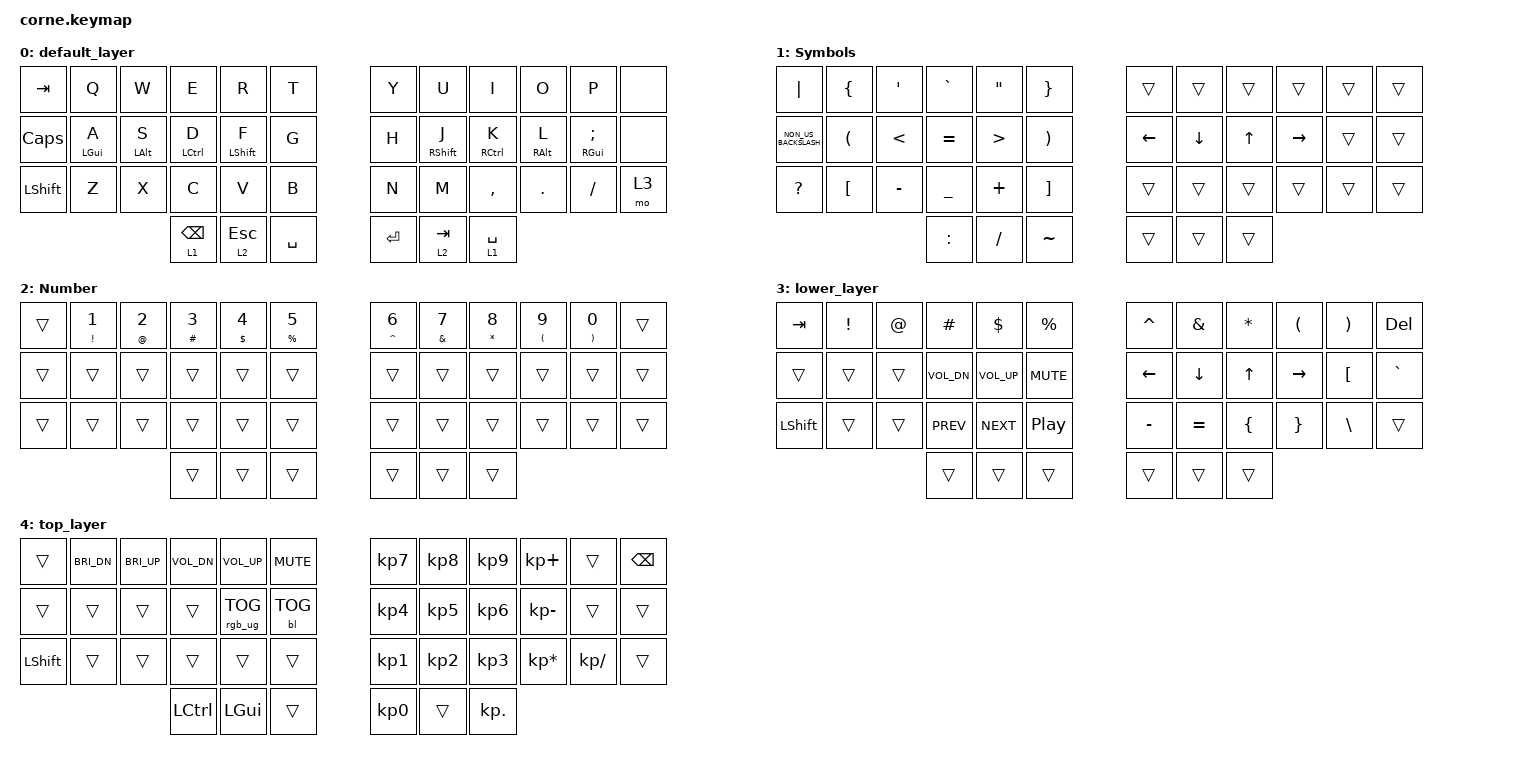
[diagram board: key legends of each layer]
/*
 * Copyright (c) 2020 The ZMK Contributors
 *
 * SPDX-License-Identifier: MIT
 */

#include <behaviors.dtsi>
#include <dt-bindings/zmk/backlight.h>
#include <dt-bindings/zmk/keys.h>
#include <dt-bindings/zmk/rgb.h>

// Layer definitions

#define DEFAULT 0
#define LOWER   1
#define RAISE   2
#define TOP     3

// Home Row Mods configuration

#define DIFFICULTY_LEVEL  0  // 0:custom, 1:easy -> 5:hard

// Set default tapping term (if DIFFICULTY_LEVEL=0)

#ifndef TAPPING_RESOLUTION

#define TAPPING_RESOLUTION 150  // Custom value (150ms)

#endif

// Configure the tapping term based on difficulty level
#ifdef DIFFICULTY_LEVEL
    #if DIFFICULTY_LEVEL > 0 && DIFFICULTY_LEVEL < 6
        #ifndef TAPPING_RESOLUTION

#define TAPPING_RESOLUTION ((6 - DIFFICULTY_LEVEL) * 100)

#endif
    #endif
#endif

// Define holds for bilateral (cross-hand) activation

#define ENFORCE_BILATERAL    // cancels single-handed home row mod+tap

// Set the mod keys for home row (pinky to index: super, alt, ctrl, shift)

#define PINKY_FINGER_MOD LGUI  // Super/GUI
#define RING1_FINGER_MOD LALT  // Alt
#define MIDDY_FINGER_MOD LCTL  // Ctrl
#define INDEX_FINGER_MOD LSFT  // Shift

// Define holding times for each finger

#ifndef HOMEY_HOLDING_TIME

#define HOMEY_HOLDING_TIME (TAPPING_RESOLUTION + 90)

#endif
#ifndef INDEX_HOLDING_TIME

#define INDEX_HOLDING_TIME (TAPPING_RESOLUTION + 20)

#endif
#ifndef MIDDY_HOLDING_TIME

#define MIDDY_HOLDING_TIME (TAPPING_RESOLUTION + 60)

#endif
#ifndef RING1_HOLDING_TIME

#define RING1_HOLDING_TIME (TAPPING_RESOLUTION + 90)

#endif
#ifndef PINKY_HOLDING_TIME

#define PINKY_HOLDING_TIME (TAPPING_RESOLUTION + 110)

#endif

// Define streak decay times
#ifndef HOMEY_STREAK_DECAY

#define HOMEY_STREAK_DECAY TAPPING_RESOLUTION

#endif
#ifndef INDEX_STREAK_DECAY

#define INDEX_STREAK_DECAY (TAPPING_RESOLUTION - 50)

#endif
#ifndef MIDDY_STREAK_DECAY

#define MIDDY_STREAK_DECAY HOMEY_STREAK_DECAY

#endif
#ifndef RING1_STREAK_DECAY

#define RING1_STREAK_DECAY HOMEY_STREAK_DECAY

#endif
#ifndef PINKY_STREAK_DECAY

#define PINKY_STREAK_DECAY HOMEY_STREAK_DECAY

#endif

// Define repeat decay times
#ifndef HOMEY_REPEAT_DECAY

#define HOMEY_REPEAT_DECAY (TAPPING_RESOLUTION + 150)

#endif
#ifndef INDEX_REPEAT_DECAY

#define INDEX_REPEAT_DECAY (TAPPING_RESOLUTION + 150)

#endif
#ifndef MIDDY_REPEAT_DECAY

#define MIDDY_REPEAT_DECAY HOMEY_REPEAT_DECAY

#endif
#ifndef RING1_REPEAT_DECAY

#define RING1_REPEAT_DECAY HOMEY_REPEAT_DECAY

#endif
#ifndef PINKY_REPEAT_DECAY

#define PINKY_REPEAT_DECAY HOMEY_REPEAT_DECAY

#endif

// Define key position groups for home row mods

#define LEFT_HAND_KEYS 0 1 2 3 4 5 12 13 14 15 16 17 24 25 26 27 28 29  // left-hand keys
#define RIGHT_HAND_KEYS 6 7 8 9 10 11 18 19 20 21 22 23 30 31 32 33 34 35  // right-hand keys
#define THUMB_KEYS 36 37 38 39 40 41  // thumb keys

/ {
    combos { compatible = "zmk,combos"; };

    behaviors {
        // Home Row Mods - Left Hand
        // Pinky - LGUI/Super (A key)

        hml_pinky: hml_pinky {
            compatible = "zmk,behavior-hold-tap";
            flavor = "balanced";

            #ifdef ENFORCE_BILATERAL

            hold-trigger-key-positions = <RIGHT_HAND_KEYS THUMB_KEYS>;
            #endif
            hold-trigger-on-release; // wait for other home row mods
            tapping-term-ms = <PINKY_HOLDING_TIME>;
            quick-tap-ms = <PINKY_REPEAT_DECAY>;
            require-prior-idle-ms = <PINKY_STREAK_DECAY>;
            #binding-cells = <2>;
            bindings = <&kp>, <&kp>;
        };

        // Ring - LALT (S key)

        hml_ring: hml_ring {
            compatible = "zmk,behavior-hold-tap";
            flavor = "balanced";

            #ifdef ENFORCE_BILATERAL

            hold-trigger-key-positions = <RIGHT_HAND_KEYS THUMB_KEYS>;
            #endif
            hold-trigger-on-release; // wait for other home row mods
            tapping-term-ms = <RING1_HOLDING_TIME>;
            quick-tap-ms = <RING1_REPEAT_DECAY>;
            require-prior-idle-ms = <RING1_STREAK_DECAY>;
            #binding-cells = <2>;
            bindings = <&kp>, <&kp>;
        };

        // Middle - LCTL (D key)

        hml_middle: hml_middle {
            compatible = "zmk,behavior-hold-tap";
            flavor = "balanced";

            #ifdef ENFORCE_BILATERAL

            hold-trigger-key-positions = <RIGHT_HAND_KEYS THUMB_KEYS>;
            #endif
            hold-trigger-on-release; // wait for other home row mods
            tapping-term-ms = <MIDDY_HOLDING_TIME>;
            quick-tap-ms = <MIDDY_REPEAT_DECAY>;
            require-prior-idle-ms = <MIDDY_STREAK_DECAY>;
            #binding-cells = <2>;
            bindings = <&kp>, <&kp>;
        };

        // Index - LSFT (F key)

        hml_index: hml_index {
            compatible = "zmk,behavior-hold-tap";
            flavor = "tap-preferred";

            #ifdef ENFORCE_BILATERAL

            hold-trigger-key-positions = <RIGHT_HAND_KEYS THUMB_KEYS>;
            #endif
            hold-trigger-on-release; // wait for other home row mods
            tapping-term-ms = <INDEX_HOLDING_TIME>;
            quick-tap-ms = <INDEX_REPEAT_DECAY>;
            require-prior-idle-ms = <INDEX_STREAK_DECAY>;
            #binding-cells = <2>;
            bindings = <&kp>, <&kp>;
        };

        // Home Row Mods - Right Hand
        // Index - RSFT (J key)

        hmr_index: hmr_index {
            compatible = "zmk,behavior-hold-tap";
            flavor = "tap-preferred";

            #ifdef ENFORCE_BILATERAL

            hold-trigger-key-positions = <LEFT_HAND_KEYS THUMB_KEYS>;
            #endif
            hold-trigger-on-release; // wait for other home row mods
            tapping-term-ms = <INDEX_HOLDING_TIME>;
            quick-tap-ms = <INDEX_REPEAT_DECAY>;
            require-prior-idle-ms = <INDEX_STREAK_DECAY>;
            #binding-cells = <2>;
            bindings = <&kp>, <&kp>;
        };

        // Middle - RCTL (K key)

        hmr_middle: hmr_middle {
            compatible = "zmk,behavior-hold-tap";
            flavor = "balanced";

            #ifdef ENFORCE_BILATERAL

            hold-trigger-key-positions = <LEFT_HAND_KEYS THUMB_KEYS>;
            #endif
            hold-trigger-on-release; // wait for other home row mods
            tapping-term-ms = <MIDDY_HOLDING_TIME>;
            quick-tap-ms = <MIDDY_REPEAT_DECAY>;
            require-prior-idle-ms = <MIDDY_STREAK_DECAY>;
            #binding-cells = <2>;
            bindings = <&kp>, <&kp>;
        };

        // Ring - RALT (L key)

        hmr_ring: hmr_ring {
            compatible = "zmk,behavior-hold-tap";
            flavor = "balanced";

            #ifdef ENFORCE_BILATERAL

            hold-trigger-key-positions = <LEFT_HAND_KEYS THUMB_KEYS>;
            #endif
            hold-trigger-on-release; // wait for other home row mods
            tapping-term-ms = <RING1_HOLDING_TIME>;
            quick-tap-ms = <RING1_REPEAT_DECAY>;
            require-prior-idle-ms = <RING1_STREAK_DECAY>;
            #binding-cells = <2>;
            bindings = <&kp>, <&kp>;
        };

        // Pinky - RGUI/Super (;/: key)

        hmr_pinky: hmr_pinky {
            compatible = "zmk,behavior-hold-tap";
            flavor = "balanced";

            #ifdef ENFORCE_BILATERAL

            hold-trigger-key-positions = <LEFT_HAND_KEYS THUMB_KEYS>;
            #endif
            hold-trigger-on-release; // wait for other home row mods
            tapping-term-ms = <PINKY_HOLDING_TIME>;
            quick-tap-ms = <PINKY_REPEAT_DECAY>;
            require-prior-idle-ms = <PINKY_STREAK_DECAY>;
            #binding-cells = <2>;
            bindings = <&kp>, <&kp>;
        };
    };

    keymap {
        compatible = "zmk,keymap";

        default_layer {
            bindings = <
&kp TAB       &kp Q              &kp W             &kp E                       &kp R                    &kp T        &kp Y    &kp U                     &kp I                        &kp O             &kp P                 &none
&kp CAPSLOCK  &hml_pinky LGUI A  &hml_ring LALT S  &hml_middle LEFT_CONTROL D  &hml_index LEFT_SHIFT F  &kp G        &kp H    &hmr_index RIGHT_SHIFT J  &hmr_middle RIGHT_CONTROL K  &hmr_ring RALT L  &hmr_pinky RGUI SEMI  &none
&kp LSHFT     &kp Z              &kp X             &kp C                       &kp V                    &kp B        &kp N    &kp M                     &kp COMMA                    &kp DOT           &kp FSLH              &mo 3
                                                   &lt 1 BACKSPACE             &lt 2 ESCAPE             &kp SPACE    &kp RET  &lt 2 TAB                 &lt 1 SPACE
            >;
        };

        Symbols {
            bindings = <
&kp PIPE              &kp LEFT_BRACE        &kp SQT        &kp GRAVE       &kp DOUBLE_QUOTES  &kp RIGHT_BRACE          &trans          &trans          &trans        &trans           &trans  &trans
&kp NON_US_BACKSLASH  &kp LEFT_PARENTHESIS  &kp LESS_THAN  &kp EQUAL       &kp GREATER_THAN   &kp RIGHT_PARENTHESIS    &kp LEFT_ARROW  &kp DOWN_ARROW  &kp UP_ARROW  &kp RIGHT_ARROW  &trans  &trans
&kp QUESTION          &kp LEFT_BRACKET      &kp MINUS      &kp UNDERSCORE  &kp PLUS           &kp RIGHT_BRACKET        &trans          &trans          &trans        &trans           &trans  &trans
                                                           &kp COLON       &kp SLASH          &kp TILDE                &trans          &trans          &trans
            >;
        };

        Number {
            bindings = <
&trans  &mt EXCLAMATION NUMBER_1  &mt AT_SIGN NUMBER_2  &mt HASH NUMBER_3  &mt DOLLAR NUMBER_4  &mt PERCENT N5    &mt CARET NUMBER_6  &mt AMPERSAND N7  &mt ASTERISK N8  &mt LEFT_PARENTHESIS N9  &mt RIGHT_PARENTHESIS N0  &trans
&trans  &trans                    &trans                &trans             &trans               &trans            &trans              &trans            &trans           &trans                   &trans                    &trans
&trans  &trans                    &trans                &trans             &trans               &trans            &trans              &trans            &trans           &trans                   &trans                    &trans
                                                        &trans             &trans               &trans            &trans              &trans            &trans
            >;
        };

        lower_layer {
            bindings = <
&kp TAB    &kp EXCL  &kp AT_SIGN  &kp HASH      &kp DLLR      &kp PRCNT           &kp CARET  &kp AMPS   &kp STAR        &kp LPAR         &kp RPAR  &kp DEL
&trans     &trans    &trans       &kp C_VOL_DN  &kp C_VOL_UP  &kp K_MUTE          &kp LEFT   &kp DOWN   &kp UP          &kp RIGHT        &kp LBKT  &kp GRAVE
&kp LSHFT  &trans    &trans       &kp C_PREV    &kp C_NEXT    &kp C_PLAY_PAUSE    &kp MINUS  &kp EQUAL  &kp LEFT_BRACE  &kp RIGHT_BRACE  &kp BSLH  &trans
                                  &trans        &trans        &trans              &trans     &trans     &trans
            >;
        };

        top_layer {
            // -----------------------------------------------------------------------------------------
            // |  TAB |  BRIGHT_UP  |  BRIGHT_DOWN  |  VOL_DOWN  |  VOL_UP  |  MUTE  |      |  -  |  7  |  8  |  9  |  +  | BKSP |
            // | CTRL |             |               |             |         |        |      |  .  |  4  |  5  |  6  |  -  |  `   |
            // | SHFT |             |              |             |          |        |      |  0  |  1  |  2  |  3  |  *  |  /   |
            //                      |              |             |          |         |     |     |     |

            bindings = <
&trans     &kp C_BRI_DN  &kp C_BRI_UP  &kp C_VOL_DN  &kp C_VOL_UP     &kp K_MUTE    &kp KP_N7  &kp KP_N8  &kp KP_N9   &kp KP_PLUS      &trans         &kp BSPC
&trans     &trans        &trans        &trans        &rgb_ug RGB_TOG  &bl BL_TOG    &kp KP_N4  &kp KP_N5  &kp KP_N6   &kp KP_MINUS     &trans         &trans
&kp LSHFT  &trans        &trans        &trans        &trans           &trans        &kp KP_N1  &kp KP_N2  &kp KP_N3   &kp KP_MULTIPLY  &kp KP_DIVIDE  &trans
                                       &kp LCTRL     &kp LEFT_GUI     &trans        &kp KP_N0  &trans     &kp KP_DOT
            >;
        };
    };
};
